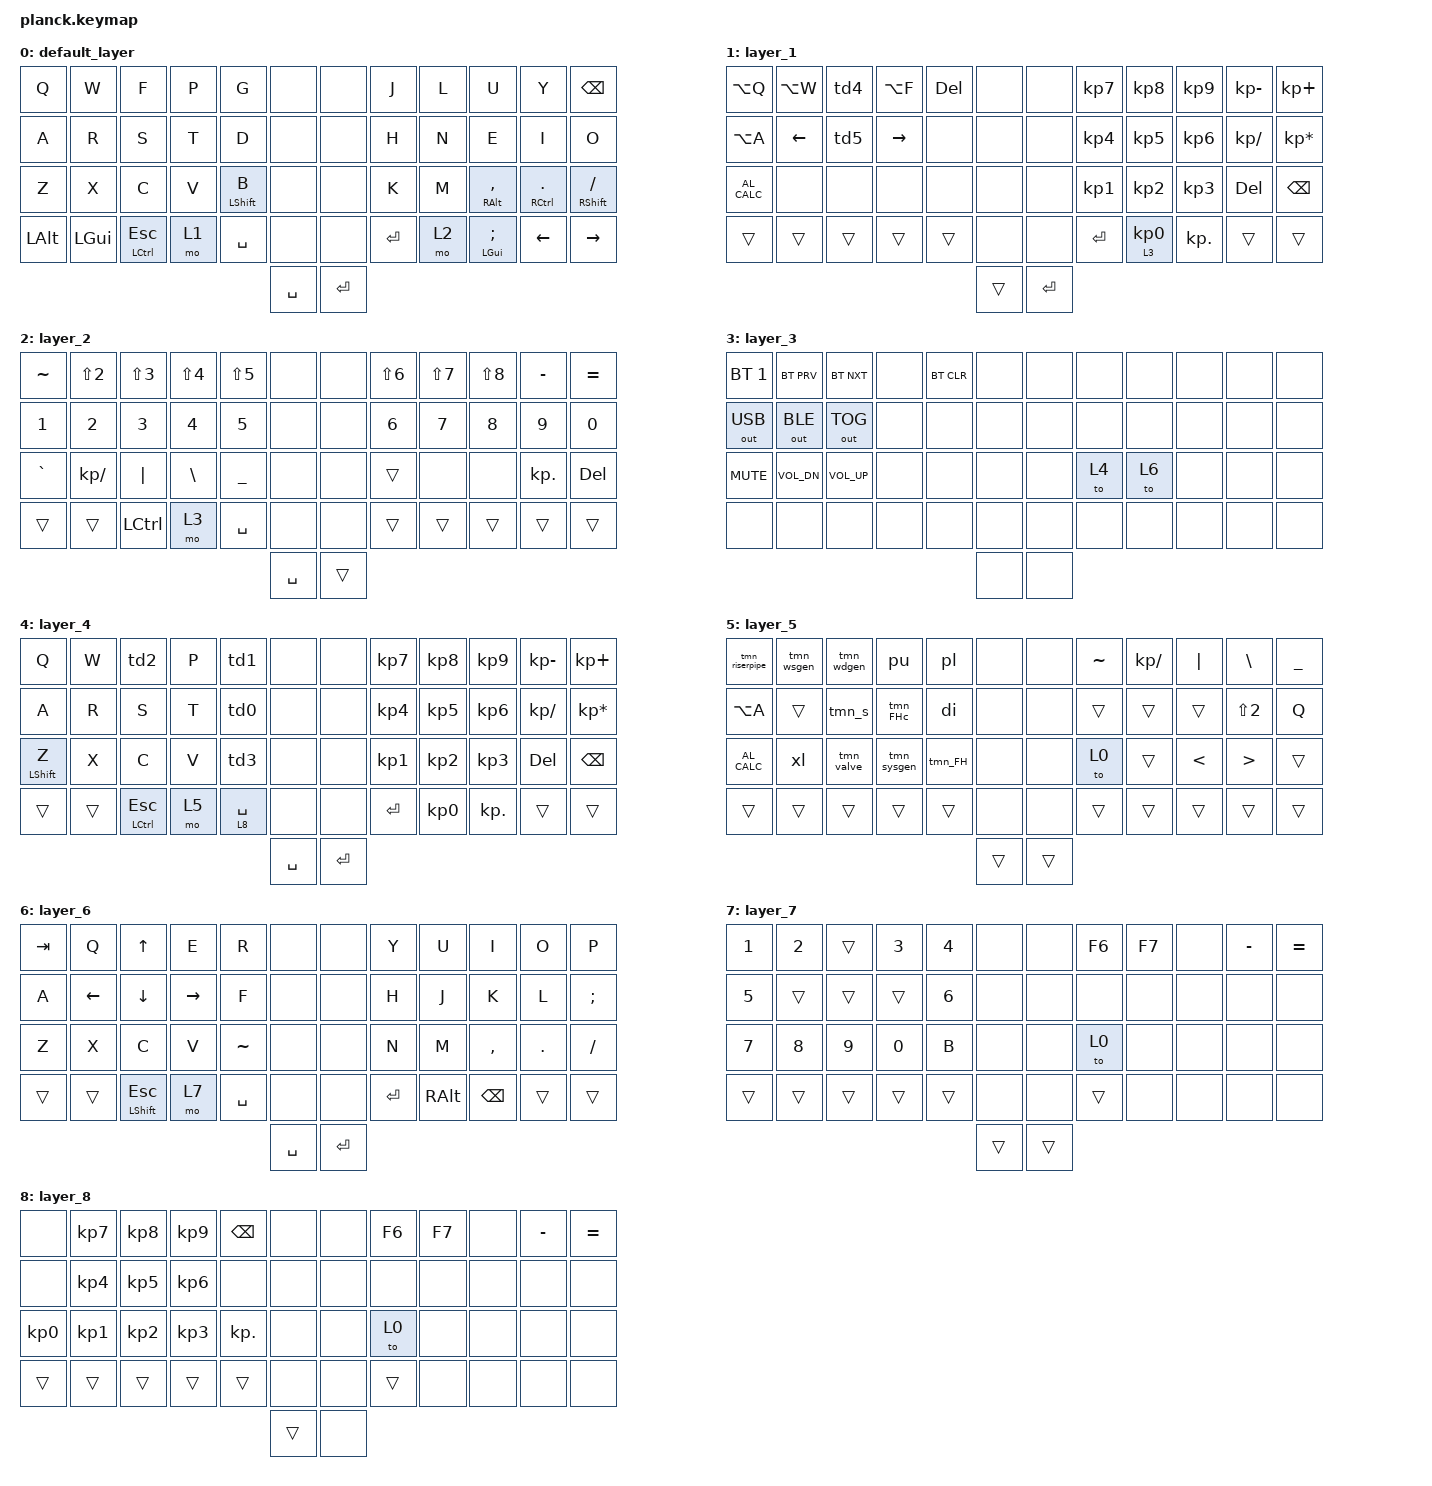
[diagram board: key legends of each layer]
/*
* Copyright (c) 2021 The ZMK Contributors
*
* SPDX-License-Identifier: MIT
*/

#include <behaviors.dtsi>
#include <dt-bindings/zmk/bt.h>
#include <dt-bindings/zmk/keys.h>
#include <dt-bindings/zmk/outputs.h>

#define default_layer 0
#define layer_1       1
#define layer_2       2
#define layer_3       3
#define layer_4       4
#define layer_5       5
#define layer_6       6
#define layer_7       7
#define layer_8       8

/ {
    behaviors {
	    td0: tap_dance_0 {
            compatible = "zmk,behavior-tap-dance";
            label = "TAP_DANCE_0";
            #binding-cells = <0>;
            tapping-term-ms = <200>;
            bindings = 	<&kp O>, 
			            <&kp D>;
        };
	    td1: tap_dance_1 {
            compatible = "zmk,behavior-tap-dance";
            label = "TAP_DANCE_1";
            #binding-cells = <0>;
            tapping-term-ms = <200>;
            bindings = 	<&kp L>, 
			            <&kp I>;
        };
	    td2: tap_dance_2 {
            compatible = "zmk,behavior-tap-dance";
            label = "TAP_DANCE_2";
            #binding-cells = <0>;
            tapping-term-ms = <200>;
            bindings = 	<&kp E>, 
			            <&kp F>;
        };
        td3: tap_dance_3 {
            compatible = "zmk,behavior-tap-dance";
            label = "TAP_DANCE_3";
            #binding-cells = <0>;
            tapping-term-ms = <200>;
            bindings = 	<&kp M>, 
			            <&kp B>;
        };
        td4: tap_dance_4 {
            compatible = "zmk,behavior-tap-dance";
            label = "TAP_DANCE_4";
            #binding-cells = <0>;
            tapping-term-ms = <200>;
            bindings = 	<&kp UP_ARROW>, 
			            <&kp PAGE_UP>;
        };
        td5: tap_dance_5 {
            compatible = "zmk,behavior-tap-dance";
            label = "TAP_DANCE_5";
            #binding-cells = <0>;
            tapping-term-ms = <200>;
            bindings = 	<&kp DOWN_ARROW>, 
			            <&kp PAGE_DOWN>;
        };
        hm_l: homerow_mods_left {
            compatible = "zmk,behavior-hold-tap";
            label = "homerow mods";
            #binding-cells = <2>;
            tapping_term_ms = <170>;
            quick-tap-ms = <0>;
            require-prior-idle-ms = <125>;
            flavor = "tap-preferred";
            bindings =
                <&kp>,
                <&kp>;
        };
        hm_r: homerow_mods_right {
            compatible = "zmk,behavior-hold-tap";
            label = "homerow mods";
            #binding-cells = <2>;
            tapping_term_ms = <200>;
            quick-tap-ms = <150>;
            require-prior-idle-ms = <125>;
            flavor = "balanced";
            bindings =
                <&kp>,
                <&kp>;
        };
        qt: quick_tap {
            compatible = "zmk,behavior-hold-tap";
            label = "QUICK_TAP";
            #binding-cells = <2>;
            tapping-term-ms = <170>;
            quick-tap-ms = <125>;
            flavor = "hold-preferred";
            bindings =
                <&kp>,
                <&kp>;
        };
        qtl: quick_tap_layer {
            compatible = "zmk,behavior-hold-tap";
            label = "QUICK_TAP_LAYER";
            #binding-cells = <2>;
            tapping-term-ms = <170>;
            quick-tap-ms = <125>;
            flavor = "tap-preferred";
            global-quick-tap;
            bindings =
                <&mo>,
                <&kp>;
        };
    };

    macros {
        pl: pl {
            compatible = "zmk,behavior-macro";
            label = "PL";
            #binding-cells = <0>;
            bindings = <&kp P &kp L &kp ENTER>;
        };
        xl: xl {
            compatible = "zmk,behavior-macro";
            label = "XL";
            #binding-cells = <0>;
            bindings = <&kp X &kp L &kp ENTER>;
        };
        pu: pu {
            compatible = "zmk,behavior-macro";
            label = "PU";
            #binding-cells = <0>;
            bindings = <&kp P &kp U &kp ENTER>;
        };
        di: di {
            compatible = "zmk,behavior-macro";
            label = "DI";
            #binding-cells = <0>;
            bindings = <&kp D &kp I &kp ENTER>;
        };
        tmn_s: tmn_s {
            compatible = "zmk,behavior-macro";
            label = "TMN_S";
            #binding-cells = <0>;
            bindings = <&kp G &kp X &kp Y &kp C &kp ENTER>;
        };
        tmn_FH: tmn_FH {
            compatible = "zmk,behavior-macro";
            label = "TMN_FH";
            #binding-cells = <0>;
            bindings = <&kp B &kp X &kp H &kp S &kp ENTER>;
        };
        tmn_FHc: tmn_FHc {
            compatible = "zmk,behavior-macro";
            label = "TMN_FHC";
            #binding-cells = <0>;
            bindings = <&kp L &kp X &kp H &kp S &kp ENTER>;
        };
        tmn_sysgen: tmn_sysgen {
            compatible = "zmk,behavior-macro";
            label = "TMN_SYSGEN";
            #binding-cells = <0>;
            bindings = <&kp X &kp T &kp F &kp J &kp ENTER>;
        };
        tmn_valve: tmn_valve {
            compatible = "zmk,behavior-macro";
            label = "TMN_VALVE";
            #binding-cells = <0>;
            bindings = <&kp F &kp M &kp F &kp J &kp ENTER>;
        };
        tmn_riserpipe: tmn_riserpipe {
            compatible = "zmk,behavior-macro";
            label = "TMN_RISERPIPE";
            #binding-cells = <0>;
            bindings = <&kp L &kp G &kp B &kp Z &kp ENTER>;
        };
        tmn_wsgen: tmn_wsgen {
            compatible = "zmk,behavior-macro";
            label = "TMN_WSGEN";
            #binding-cells = <0>;
            bindings = <&kp G &kp S &kp F &kp J &kp ENTER>;
        };
        tmn_wdgen: tmn_wdgen {
            compatible = "zmk,behavior-macro";
            label = "TMN_WDGEN";
            #binding-cells = <0>;
            bindings = <&kp P &kp S &kp F &kp J &kp ENTER>;
        };
    };

    // COMBOS
    // ===========================================================================================================
    /*
	    .------------------------------------------------------------------------.
	    |  0  |  1  |  2  |  3  |  4  |  5  |  6  |  7  |  8  |  9  |  10  |  11 |
        |  12 |  13 |  14 |  15 |  16 |  17 |  18 |  19 |  20 |  21 |  22  |  23 |
        |  24 |  25 |  26 |  27 |  28 |  29 |  30 |  31 |  32 |  33 |  34  |  35 |
        |  36 |  37 |  38 |  39 |  40 |  41 |  42 |  43 |  44 |  45 |  46  |  47 |
	    '--------------------------|  49  |    |  50  |--------------------------'
    
        ctrl+shift    = 12 | 24
        		
	    alt+F4 	= 0  | 28
        !    	= 1  | 2
		?    	= 33 | 34		
	    "    	= 13 | 15		
	    '   	= 25 | 27		

        F1	    = 0  | 12
        F2	    = 1  | 13
        F3      = 2  | 14
        F4 	    = 3  | 15
        F5 	    = 4  | 16
        F8 	    = 1  | 3

	    (       = 3  | 4        
        )       = 7  | 8
        [       = 15 | 16
        ]       = 19 | 20
        {       = 27 | 28
        }       = 31 | 32

	    
    */

    combos {
        compatible = "zmk,combos"; 

        tab {
            bindings = <&kp TAB>;
            key-positions = <0 1>;
            layers = <0 4 6>;
            timeout-ms = <40>;
        };

        cb_bootloader {
            bindings = <&bootloader>;
            key-positions = <15 20>;
            layers = <3>;
            timeout-ms = <40>;
        };
        
        cb_exclamation {
            bindings = <&kp EXCL>;
            key-positions = <1 2>;
            layers = <0 6>;
            timeout-ms = <40>;
        };
        
        cb_question {
            bindings = <&kp QMARK>;
            key-positions = <33 34>;
            layers = <0 6>;
            timeout-ms = <40>;
        };

        cb_doublequotes {
            bindings = <&kp DQT>;
            key-positions = <13 15>;
            layers = <0 4>;
            timeout-ms = <40>;
        };

        cb_singlequote {
            bindings = <&kp SQT>;
            key-positions = <25 27>;
            layers = <0 4>;
            timeout-ms = <40>;
        };

        ctrl_plus_shift {
            bindings = <&kp LC(LS(LCTRL))>;
            key-positions = <12 24>;
            layers = <0 4 6>;
            timeout-ms = <40>;
        };

        combo_f1 {
            bindings = <&kp F1>;
            key-positions = <0 12>;
            layers = <0 4>;
        };

        combo_f2 {
            bindings = <&kp F2>;
            key-positions = <1 13>;
            layers = <0 4>;
        };

        combo_f3 {
            bindings = <&kp F3>;
            key-positions = <2 14>;
            layers = <0 4>;
        };

        combo_f4 {
            bindings = <&kp F4>;
            key-positions = <3 15>;
            layers = <0 4>;
        };

        combo_f5 {
            bindings = <&kp F5>;
            key-positions = <4 16>;
            layers = <0 4 6>;
        };

        combo_f8 {
            bindings = <&kp F8>;
            key-positions = <1 3>;
            layers = <0 4>;
            timeout-ms = <40>;
        };

        cb_lpar {
            bindings = <&kp LEFT_PARENTHESIS>;
            key-positions = <3 4>;
        };

        cb_rlar {
            bindings = <&kp RIGHT_PARENTHESIS>;
            key-positions = <7 8>;
        };

        cb_lbkt {
            bindings = <&kp LEFT_BRACKET>;
            key-positions = <15 16>;
        };

        cb_rbkt {
            bindings = <&kp RIGHT_BRACKET>;
            key-positions = <19 20>;
        };

        cb_lbrc {
            bindings = <&kp LEFT_BRACE>;
            key-positions = <27 28>;
        };

        cb_rbrc {
            bindings = <&kp RIGHT_BRACE>;
            key-positions = <31 32>;
        };

        cb_altf4 {
            bindings = <&kp LA(F4)>;
            key-positions = <0 28>;
        };
    };              

    keymap {
        compatible = "zmk,keymap";

        default_layer {
            bindings = <
                &kp Q           &kp W           &kp F                       &kp P   &kp G                   &none &none         &kp J        &kp L     &kp U                   &kp Y                    &kp BACKSPACE
                &kp A           &kp R           &kp S                       &kp T   &kp D                   &none &none         &kp H        &kp N     &kp E                   &kp I                    &kp O
                &kp Z           &kp X           &kp C                       &kp V   &hm_l LEFT_SHIFT B      &none &none         &kp K        &kp M     &hm_r RIGHT_ALT COMMA   &hm_r RIGHT_CONTROL DOT  &hm_r RIGHT_SHIFT SLASH
                &kp LEFT_ALT    &kp LEFT_GUI    &qt LEFT_CONTROL ESCAPE     &mo 1   &kp SPACE               &none &none         &kp ENTER    &mo 2     &qt LEFT_GUI SEMI       &kp LEFT_ARROW           &kp RIGHT_ARROW
                                                                                              &kp SPACE                 &kp ENTER
            >;
        };

        layer_1 {
            bindings = <
                &kp LA(Q)       &kp LA(W)           &td4            &kp LA(F)        &kp DELETE       &none &none       &kp KP_NUMBER_7   &kp KP_NUMBER_8     &kp KP_NUMBER_9  &kp KP_MINUS  &kp KP_PLUS
                &kp LA(A)       &kp LEFT_ARROW      &td5            &kp RIGHT_ARROW  &none            &none &none       &kp KP_NUMBER_4   &kp KP_NUMBER_5     &kp KP_NUMBER_6  &kp KP_SLASH  &kp KP_ASTERISK
                &kp C_AL_CALC   &none               &none           &none            &none            &none &none       &kp KP_NUMBER_1   &kp KP_NUMBER_2     &kp KP_NUMBER_3  &kp DELETE    &kp BACKSPACE
                &trans          &trans              &trans          &trans           &trans           &none &none       &kp ENTER         &qtl 3 KP_NUMBER_0  &kp KP_DOT       &trans        &trans
                                                                                            &trans                          &kp ENTER
            >;
        };

        layer_2 {
            bindings = <
                &kp TILDE       &kp LS(NUMBER_2)  &kp LS(NUMBER_3)  &kp LS(NUMBER_4)   &kp LS(NUMBER_5)     &none &none        &kp LS(NUMBER_6)  &kp LS(NUMBER_7)  &kp LS(N8)    &kp MINUS     &kp EQUAL
                &kp NUMBER_1    &kp NUMBER_2      &kp NUMBER_3      &kp NUMBER_4       &kp NUMBER_5         &none &none        &kp NUMBER_6      &kp NUMBER_7      &kp NUMBER_8  &kp NUMBER_9  &kp NUMBER_0
                &kp GRAVE       &kp KP_SLASH      &kp PIPE          &kp BACKSLASH      &kp UNDER            &none &none        &trans            &none             &none         &kp KP_DOT    &kp DELETE
                &trans          &trans            &kp LEFT_CONTROL  &mo 3              &kp SPACE            &none &none        &trans            &trans            &trans        &trans        &trans
                                                                              &kp SPACE                                 &trans
            >;
        };

        layer_3 {
            bindings = <
                &bt BT_SEL 1    &bt BT_PRV      &bt BT_NXT      &none           &bt BT_CLR          &none &none         &none           &none           &none           &none           &none
                &out OUT_USB    &out OUT_BLE    &out OUT_TOG    &none           &none               &none &none  	    &none           &none           &none           &none           &none
                &kp C_MUTE      &kp C_VOL_DN    &kp C_VOL_UP    &none           &none               &none &none         &to 4           &to 6           &none           &none           &none
                &none           &none           &none           &none           &none               &none &none  	    &none           &none           &none           &none           &none
                                                                        &none                                     &none
            >;
        };  

        layer_4 {
            bindings = <
                &kp Q              &kp W      &td2                        &kp P   &td1           &none &none       &kp KP_NUMBER_7  &kp KP_NUMBER_8  &kp KP_NUMBER_9  &kp KP_MINUS   &kp KP_PLUS
                &kp A              &kp R      &kp S                       &kp T   &td0           &none &none       &kp KP_NUMBER_4  &kp KP_NUMBER_5  &kp KP_NUMBER_6  &kp KP_SLASH   &kp KP_ASTERISK
                &hm_l LEFT_SHIFT Z &kp X      &kp C                       &kp V   &td3      	 &none &none       &kp KP_NUMBER_1  &kp KP_NUMBER_2  &kp KP_NUMBER_3  &kp DELETE     &kp BACKSPACE
                &trans             &trans     &qt LEFT_CONTROL ESCAPE     &mo 5   &qtl 8 SPACE   &none &none       &kp ENTER        &kp KP_NUMBER_0  &kp KP_DOT       &trans         &trans
                                                                                        &kp SPACE            &kp ENTER
            >;
        };

        layer_5 {
            bindings = <
                &tmn_riserpipe    &tmn_wsgen  &tmn_wdgen  &pu          &pl          &none &none      &kp TILDE  &kp KP_SLASH     &kp PIPE        &kp BACKSLASH       &kp UNDER
                &kp LA(A)         &trans      &tmn_s      &tmn_FHc     &di          &none &none      &trans     &trans           &trans          &kp LS(NUMBER_2)    &kp Q
                &kp C_AL_CALC     &xl         &tmn_valve  &tmn_sysgen  &tmn_FH      &none &none      &to 0      &trans           &kp LESS_THAN   &kp GREATER_THAN    &trans
                &trans            &trans      &trans      &trans       &trans       &none &none      &trans     &trans           &trans          &trans              &trans
                                                                            &trans              &trans
            >;
        };

        layer_6 {
            bindings = <
                &kp TAB   &kp Q           &kp UP_ARROW              &kp E               &kp R          &none &none          &kp Y       &kp U            &kp I          &kp O    &kp P      
                &kp A     &kp LEFT_ARROW  &kp DOWN_ARROW            &kp RIGHT_ARROW     &kp F          &none &none          &kp H       &kp J            &kp K          &kp L    &kp SEMI
                &kp Z     &kp X           &kp C                     &kp V               &kp TILDE      &none &none          &kp N       &kp M            &kp COMMA      &kp DOT  &kp SLASH
                &trans    &trans          &hm_l LEFT_SHIFT ESCAPE   &mo 7               &kp SPACE      &none &none          &kp ENTER   &kp RIGHT_ALT    &kp BACKSPACE  &trans   &trans
                                                                            &kp SPACE                           &kp ENTER
            >;
        };

        layer_7 {
            bindings = <
                &kp NUMBER_1    &kp NUMBER_2     &trans         &kp NUMBER_3   &kp NUMBER_4          &none &none          &kp F6  &kp F7  &none  &kp MINUS   &kp EQUAL
                &kp NUMBER_5    &trans           &trans         &trans         &kp NUMBER_6          &none &none          &none   &none   &none  &none       &none
                &kp NUMBER_7    &kp NUMBER_8     &kp NUMBER_9   &kp NUMBER_0   &kp B                 &none &none          &to 0   &none   &none  &none       &none
                &trans          &trans           &trans         &trans         &trans                &none &none          &trans  &none   &none  &none       &none
                                                                                    &trans                      &trans
            >;
        };

        layer_8 {
            bindings = <
                &none    &kp KP_NUMBER_7  &kp KP_NUMBER_8  &kp KP_NUMBER_9   &kp BACKSPACE          &none   &none      &kp F6  &kp F7  &none  &kp MINUS   &kp EQUAL
                &none    &kp KP_NUMBER_4  &kp KP_NUMBER_5  &kp KP_NUMBER_6   &none                  &none   &none      &none   &none   &none  &none       &none
                &kp KP_NUMBER_0    &kp KP_NUMBER_1  &kp KP_NUMBER_2  &kp KP_NUMBER_3   &kp KP_DOT   &none   &none      &to 0   &none   &none  &none       &none
                &trans          &trans           &trans         &trans         &trans               &none   &none      &trans  &none   &none  &none       &none
                                                                         &trans                       &none   
            >;
        };
    };
};
